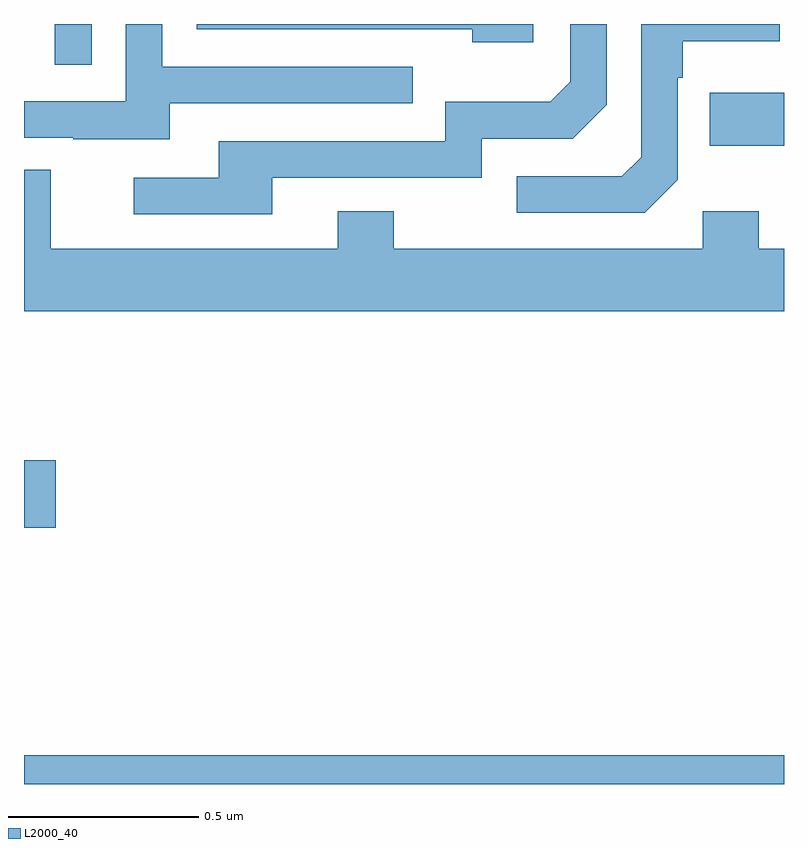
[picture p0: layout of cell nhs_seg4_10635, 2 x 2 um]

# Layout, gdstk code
import gdstk
lib = gdstk.Library(unit=1e-6, precision=1e-09)
def R(c, l, rs):  # rectangles x0, y0, x1, y1
    for r in rs: c.add(gdstk.rectangle(r[:2], r[2:], *l))
def P(c, l, *ps):  # polygons
    for p in ps: c.add(gdstk.Polygon(p, *l))
L2000_40 = (2000, 40)

nhs_seg4_10635 = lib.new_cell('nhs_seg4_10635')
R(nhs_seg4_10635, L2000_40, [(242,804.9,244,804.976), (242,805.574,242.083,805.752), (243.805,806.579,244,806.719), (242.081,806.793,242.178,806.9)])
P(nhs_seg4_10635, L2000_40, [(243.34,806.9),(242.454,806.9),(242.454,806.886),(243.179,806.886),(243.179,806.852),(243.34,806.852)],
  [(243.72,806.49),(243.72,806.759),(243.733,806.759),(243.733,806.855),(243.989,806.855),(243.989,806.9),(243.624,806.9),(243.624,806.55),(243.573,806.499),(243.297,806.499),(243.297,806.403),(243.633,806.403)],
  [(242.653,806.496),(243.204,806.496),(243.204,806.598),(243.444,806.598),(243.534,806.688),(243.534,806.9),(243.438,806.9),(243.438,806.748),(243.385,806.695),(243.108,806.695),(243.108,806.592),(242.513,806.592),(242.513,806.496),(242.289,806.496),(242.289,806.4),(242.653,806.4)],
  [(242.383,806.691),(243.023,806.691),(243.023,806.787),(242.364,806.787),(242.364,806.9),(242.268,806.9),(242.268,806.697),(242,806.697),(242,806.601),(242.129,806.601),(242.129,806.597),(242.383,806.597)],
  [(244,806.308),(243.933,806.308),(243.933,806.407),(243.786,806.407),(243.786,806.308),(242.973,806.308),(242.973,806.407),(242.825,806.407),(242.825,806.308),(242.071,806.308),(242.071,806.516),(242,806.516),(242,806.144),(244,806.144)])

lib.write_gds('nhs_seg4_10635.gds')
